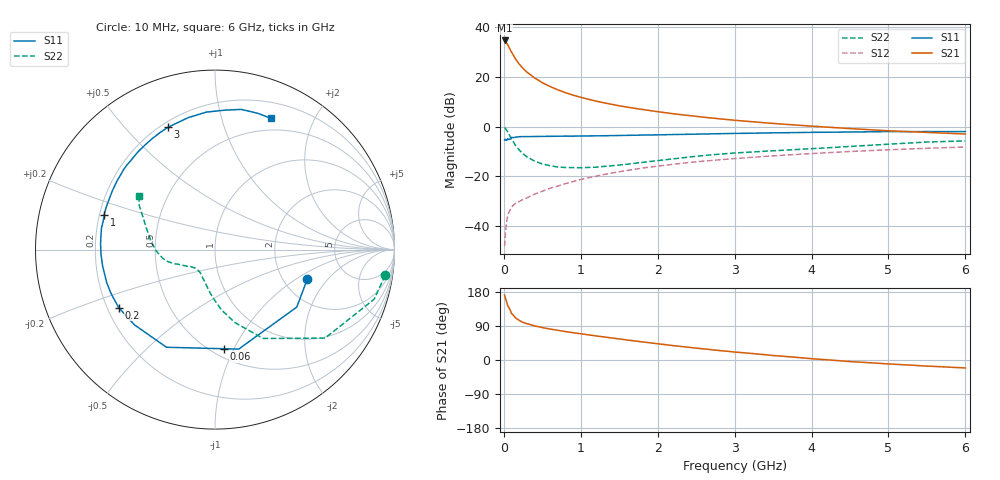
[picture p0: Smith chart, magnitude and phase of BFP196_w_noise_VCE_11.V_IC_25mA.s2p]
! (c) 2017  Infineon Technologies AG, Munich
! Infineon Technologies  Discrete & RF Semiconductors
! BFP196
! VCE =  11. V,  IC =  25 mA
! Common Emitter S-Parameters:  Jan 2017
# GHz  S  MA  R  50
!  f  S11  S21  S12  S22
! GHz  MAG  ANG  MAG  ANG  MAG  ANG  MAG  ANG
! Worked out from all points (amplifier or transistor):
!   77 points, 10 MHz to 6 GHz, reference 50 ohm
!   highest |S21| = 34.7 dB at 10 MHz (marker M1)
!   |S21| within 3 dB of that: start of sweep to 71.49 MHz
!   unconditionally stable (mu >= 1): 759.4 MHz to 2.379 GHz
!   at 130 MHz: K = 0.42, MSG = 30.0 dB, |S12| = -31.5 dB
!   at 2.2 GHz: K = 1.01, MAG = 9.5 dB, |S12| = -15.2 dB
!   at 6 GHz: K = 0.92, MSG = 2.6 dB, |S12| = -8.2 dB
!   lowest NFmin = 1.15 dB at 450 MHz
!   S11 on the Smith chart (normalised r, x): 10 MHz: 2.70, -1.25; 60 MHz: 0.57, -0.92; 200 MHz: 0.25, -0.26; 1 GHz: 0.22, +0.15; 3 GHz: 0.23, +0.66; 6 GHz: 0.37, +1.45
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0.01  0.5401 -17.7  54.49 171.2  0.0039 72.2  0.9592 -8.6
0.02  0.5569 -35.1  53.64 163.4  0.007 76.4  0.9287 -17.3
0.05  0.5699 -76.6  44.76 143.3  0.0163 61.2  0.7867 -38.8
0.06  0.5548 -84.7  41.8 140.2  0.0178 58.3  0.7346 -42.2
0.1  0.6076 -116.4  31.71 122.7  0.0239 50.4  0.5633 -61.5
0.15  0.614 -136.9  23.31 111.5  0.0284 45.6  0.4218 -74.7
0.2  0.6264 -148.9  18.22 104.4  0.0309 46.8  0.3386 -83.8
0.25  0.6289 -157.3  14.87 99.2  0.0343 48.1  0.2834 -90.2
0.3  0.6308 -163.0  12.52 95.7  0.0365 48.6  0.2463 -95.9
0.4  0.6329 -171.5  9.546 89.9  0.0436 53.1  0.2015 -104.2
0.5  0.6358 -177.7  7.673 85.5  0.0499 55.1  0.1774 -111.3
0.6  0.6382 177.2  6.436 81.7  0.0573 57.2  0.163 -117.5
0.7  0.6401 173.3  5.524 78.4  0.0635 58.4  0.1537 -122.0
1  0.647 162.5  3.9 69.2  0.0862 59.8  0.1487 -133.5
1.1  0.6501 159.3  3.555 66.4  0.0932 59.7  0.1506 -136.0
1.5  0.6625 147.3  2.632 55.6  0.1231 57.4  0.1685 -146.0
2.1  0.6872 130.9  1.908 40.5  0.1669 51.7  0.2151 -157.1
3  0.7302 111.0  1.343 21.0  0.2269 41.5  0.2942 -170.4
3.1  0.7325 109.1  1.304 19.4  0.2328 40.3  0.3002 -172.1
4.1  0.7687 92.1  1 2.0  0.2921 29.1  0.3666 170.5
5.1  0.7941 78.0  0.812 -11.5  0.3461 17.7  0.452 154.1
6  0.7951 66.8  0.709 -21.0  0.3882 7.5  0.5159 145.0
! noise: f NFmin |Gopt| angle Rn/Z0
0.45  1.15  0.34  164  0.05
0.9  1.34  0.45  -176  0.06
1.9  2.21  0.68  -136  0.24
2.4  2.64  0.71  -122  0.59
